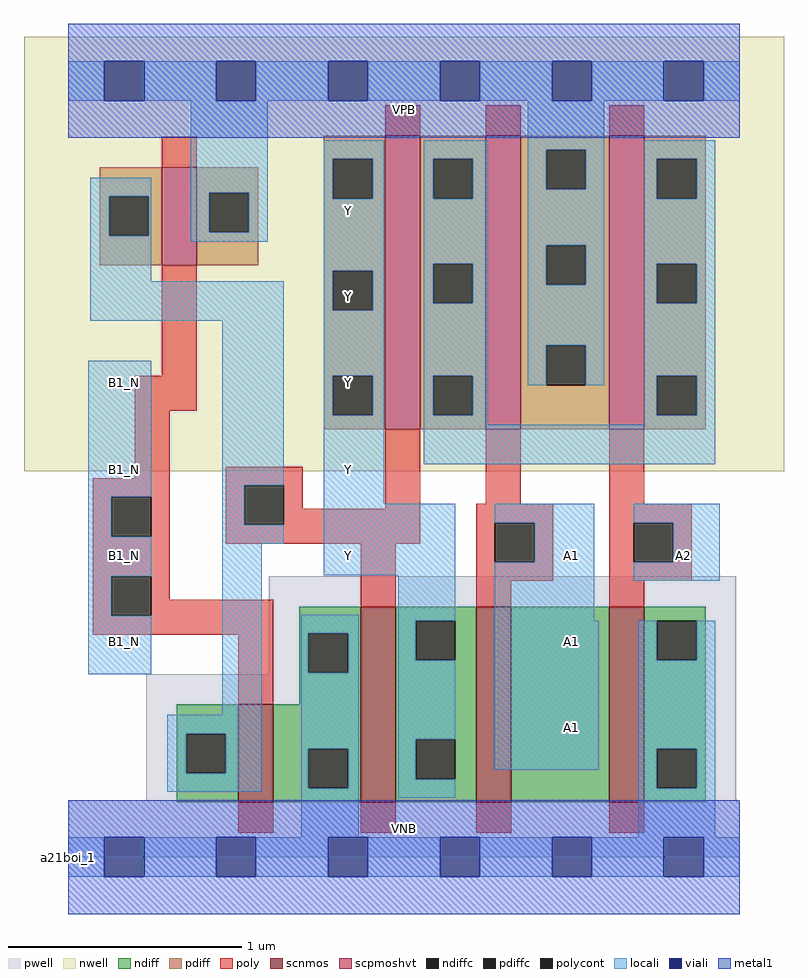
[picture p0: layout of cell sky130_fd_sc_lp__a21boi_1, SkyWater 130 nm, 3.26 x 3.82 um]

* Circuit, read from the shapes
.subckt sky130_fd_sc_lp__a21boi_1 A1 A2 B1_N VGND VNB VPB VPWR Y
XM1 VGND B1_N n1 VNB sky130_fd_pr__nfet_01v8 w=0.42 l=0.15
XM2 Y n1 VGND VNB sky130_fd_pr__nfet_01v8 w=0.84 l=0.15
XM3 n2 A1 Y VNB sky130_fd_pr__nfet_01v8 w=0.84 l=0.15
XM4 VGND A2 n2 VNB sky130_fd_pr__nfet_01v8 w=0.84 l=0.15
XM5 VPWR B1_N n1 VPB sky130_fd_pr__pfet_01v8_hvt w=0.42 l=0.15
XM6 n3 n1 Y VPB sky130_fd_pr__pfet_01v8_hvt w=1.26 l=0.15
XM7 VPWR A1 n3 VPB sky130_fd_pr__pfet_01v8_hvt w=1.26 l=0.15
XM8 n3 A2 VPWR VPB sky130_fd_pr__pfet_01v8_hvt w=1.26 l=0.15
.ends

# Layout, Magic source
magic
tech sky130A
magscale 1 2
<< nwell >>
rect -38 331 614 704
<< pwell >>
rect 172 157 573 241
rect 67 49 573 157
rect 0 0 576 49
<< scnmos >>
rect 146 47 176 131
rect 251 47 281 215
rect 350 47 380 215
rect 464 47 494 215
<< scpmoshvt >>
rect 80 508 110 592
rect 272 367 302 619
rect 358 367 388 619
rect 464 367 494 619
<< ndiff >>
rect 198 192 251 215
rect 198 158 206 192
rect 240 158 251 192
rect 198 131 251 158
rect 93 106 146 131
rect 93 72 101 106
rect 135 72 146 106
rect 93 47 146 72
rect 176 93 251 131
rect 176 59 206 93
rect 240 59 251 93
rect 176 47 251 59
rect 281 203 350 215
rect 281 169 298 203
rect 332 169 350 203
rect 281 101 350 169
rect 281 67 298 101
rect 332 67 350 101
rect 281 47 350 67
rect 380 47 464 215
rect 494 203 547 215
rect 494 169 505 203
rect 539 169 547 203
rect 494 93 547 169
rect 494 59 505 93
rect 539 59 547 93
rect 494 47 547 59
<< pdiff >>
rect 219 599 272 619
rect 27 567 80 592
rect 27 533 35 567
rect 69 533 80 567
rect 27 508 80 533
rect 110 570 163 592
rect 110 536 121 570
rect 155 536 163 570
rect 110 508 163 536
rect 219 565 227 599
rect 261 565 272 599
rect 219 503 272 565
rect 219 469 227 503
rect 261 469 272 503
rect 219 413 272 469
rect 219 379 227 413
rect 261 379 272 413
rect 219 367 272 379
rect 302 599 358 619
rect 302 565 313 599
rect 347 565 358 599
rect 302 509 358 565
rect 302 475 313 509
rect 347 475 358 509
rect 302 413 358 475
rect 302 379 313 413
rect 347 379 358 413
rect 302 367 358 379
rect 388 607 464 619
rect 388 573 410 607
rect 444 573 464 607
rect 388 525 464 573
rect 388 491 410 525
rect 444 491 464 525
rect 388 439 464 491
rect 388 405 410 439
rect 444 405 464 439
rect 388 367 464 405
rect 494 599 547 619
rect 494 565 505 599
rect 539 565 547 599
rect 494 509 547 565
rect 494 475 505 509
rect 539 475 547 509
rect 494 413 547 475
rect 494 379 505 413
rect 539 379 547 413
rect 494 367 547 379
<< ndiffc >>
rect 206 158 240 192
rect 101 72 135 106
rect 206 59 240 93
rect 298 169 332 203
rect 298 67 332 101
rect 505 169 539 203
rect 505 59 539 93
<< pdiffc >>
rect 35 533 69 567
rect 121 536 155 570
rect 227 565 261 599
rect 227 469 261 503
rect 227 379 261 413
rect 313 565 347 599
rect 313 475 347 509
rect 313 379 347 413
rect 410 573 444 607
rect 410 491 444 525
rect 410 405 444 439
rect 505 565 539 599
rect 505 475 539 509
rect 505 379 539 413
<< poly >>
rect 272 619 302 645
rect 358 619 388 645
rect 464 619 494 645
rect 80 592 110 618
rect 80 413 110 508
rect 57 383 110 413
rect 57 325 87 383
rect 21 309 87 325
rect 21 275 37 309
rect 71 275 87 309
rect 21 241 87 275
rect 135 319 201 335
rect 135 285 151 319
rect 185 299 201 319
rect 272 299 302 367
rect 358 303 388 367
rect 464 303 494 367
rect 185 285 302 299
rect 135 269 302 285
rect 350 287 416 303
rect 21 207 37 241
rect 71 221 87 241
rect 71 207 176 221
rect 251 215 281 269
rect 350 253 366 287
rect 400 253 416 287
rect 350 237 416 253
rect 464 287 535 303
rect 464 253 485 287
rect 519 253 535 287
rect 464 237 535 253
rect 350 215 380 237
rect 464 215 494 237
rect 21 191 176 207
rect 146 131 176 191
rect 146 21 176 47
rect 251 21 281 47
rect 350 21 380 47
rect 464 21 494 47
<< polycont >>
rect 37 275 71 309
rect 151 285 185 319
rect 37 207 71 241
rect 366 253 400 287
rect 485 253 519 287
<< locali >>
rect 0 649 31 683
rect 65 649 127 683
rect 161 649 223 683
rect 257 649 319 683
rect 353 649 415 683
rect 449 649 511 683
rect 545 649 576 683
rect 19 567 71 583
rect 19 533 35 567
rect 69 533 71 567
rect 19 494 71 533
rect 105 570 171 649
rect 105 536 121 570
rect 155 536 171 570
rect 105 528 171 536
rect 219 599 271 615
rect 219 565 227 599
rect 261 565 271 599
rect 219 503 271 565
rect 19 460 185 494
rect 17 309 71 426
rect 17 275 37 309
rect 17 241 71 275
rect 17 207 37 241
rect 17 157 71 207
rect 132 319 185 460
rect 132 285 151 319
rect 132 269 185 285
rect 219 469 227 503
rect 261 469 271 503
rect 219 413 271 469
rect 219 379 227 413
rect 261 379 271 413
rect 219 303 271 379
rect 305 599 360 615
rect 305 565 313 599
rect 347 565 360 599
rect 305 509 360 565
rect 305 475 313 509
rect 347 475 360 509
rect 305 413 360 475
rect 305 379 313 413
rect 347 379 360 413
rect 394 607 460 649
rect 394 573 410 607
rect 444 573 460 607
rect 394 525 460 573
rect 394 491 410 525
rect 444 491 460 525
rect 394 439 460 491
rect 394 405 410 439
rect 444 405 460 439
rect 494 599 555 615
rect 494 565 505 599
rect 539 565 555 599
rect 494 509 555 565
rect 494 475 505 509
rect 539 475 555 509
rect 494 413 555 475
rect 305 371 360 379
rect 494 379 505 413
rect 539 379 555 413
rect 494 371 555 379
rect 305 337 555 371
rect 132 122 166 269
rect 219 242 332 303
rect 85 106 166 122
rect 85 72 101 106
rect 135 72 166 106
rect 85 56 166 72
rect 200 192 249 208
rect 200 158 206 192
rect 240 158 249 192
rect 200 93 249 158
rect 200 59 206 93
rect 240 59 249 93
rect 200 17 249 59
rect 283 203 332 242
rect 283 169 298 203
rect 283 101 332 169
rect 283 67 298 101
rect 366 287 451 303
rect 400 253 451 287
rect 366 203 451 253
rect 485 287 559 303
rect 519 253 559 287
rect 485 237 559 253
rect 366 75 455 203
rect 489 169 505 203
rect 539 169 555 203
rect 489 93 555 169
rect 283 51 332 67
rect 489 59 505 93
rect 539 59 555 93
rect 489 17 555 59
rect 0 -17 31 17
rect 65 -17 127 17
rect 161 -17 223 17
rect 257 -17 319 17
rect 353 -17 415 17
rect 449 -17 511 17
rect 545 -17 576 17
<< viali >>
rect 31 649 65 683
rect 127 649 161 683
rect 223 649 257 683
rect 319 649 353 683
rect 415 649 449 683
rect 511 649 545 683
rect 31 -17 65 17
rect 127 -17 161 17
rect 223 -17 257 17
rect 319 -17 353 17
rect 415 -17 449 17
rect 511 -17 545 17
<< metal1 >>
rect 0 683 576 715
rect 0 649 31 683
rect 65 649 127 683
rect 161 649 223 683
rect 257 649 319 683
rect 353 649 415 683
rect 449 649 511 683
rect 545 649 576 683
rect 0 617 576 649
rect 0 17 576 49
rect 0 -17 31 17
rect 65 -17 127 17
rect 161 -17 223 17
rect 257 -17 319 17
rect 353 -17 415 17
rect 449 -17 511 17
rect 545 -17 576 17
rect 0 -49 576 -17
<< labels >>
flabel pwell s 0 0 576 49 0 FreeSans 200 0 0 0 VNB
port 5 nsew ground bidirectional
flabel nwell s 0 617 576 666 0 FreeSans 200 0 0 0 VPB
port 6 nsew power bidirectional
rlabel comment s 0 0 0 0 4 a21boi_1
flabel metal1 s 0 617 576 666 0 FreeSans 340 0 0 0 VPWR
port 7 nsew power bidirectional
flabel metal1 s 0 0 576 49 0 FreeSans 340 0 0 0 VGND
port 4 nsew ground bidirectional
flabel locali s 415 94 449 128 0 FreeSans 340 0 0 0 A1
port 1 nsew signal input
flabel locali s 415 168 449 202 0 FreeSans 340 0 0 0 A1
port 1 nsew signal input
flabel locali s 415 242 449 276 0 FreeSans 340 0 0 0 A1
port 1 nsew signal input
flabel locali s 223 242 257 276 0 FreeSans 340 0 0 0 Y
port 8 nsew signal output
flabel locali s 223 316 257 350 0 FreeSans 340 0 0 0 Y
port 8 nsew signal output
flabel locali s 223 390 257 424 0 FreeSans 340 0 0 0 Y
port 8 nsew signal output
flabel locali s 223 464 257 498 0 FreeSans 340 0 0 0 Y
port 8 nsew signal output
flabel locali s 223 538 257 572 0 FreeSans 340 0 0 0 Y
port 8 nsew signal output
flabel locali s 511 242 545 276 0 FreeSans 340 0 0 0 A2
port 2 nsew signal input
flabel locali s 31 168 65 202 0 FreeSans 340 0 0 0 B1_N
port 3 nsew signal input
flabel locali s 31 242 65 276 0 FreeSans 340 0 0 0 B1_N
port 3 nsew signal input
flabel locali s 31 316 65 350 0 FreeSans 340 0 0 0 B1_N
port 3 nsew signal input
flabel locali s 31 390 65 424 0 FreeSans 340 0 0 0 B1_N
port 3 nsew signal input
<< properties >>
string LEFsite unit
string LEFclass CORE
string FIXED_BBOX 0 0 576 666
string GDS_FILE $PDKPATH/libs.ref/sky130_fd_sc_lp/gds/sky130_fd_sc_lp.gds
string LEFsymmetry X Y R90
string GDS_END 5627560
string GDS_START 5620764
<< end >>
